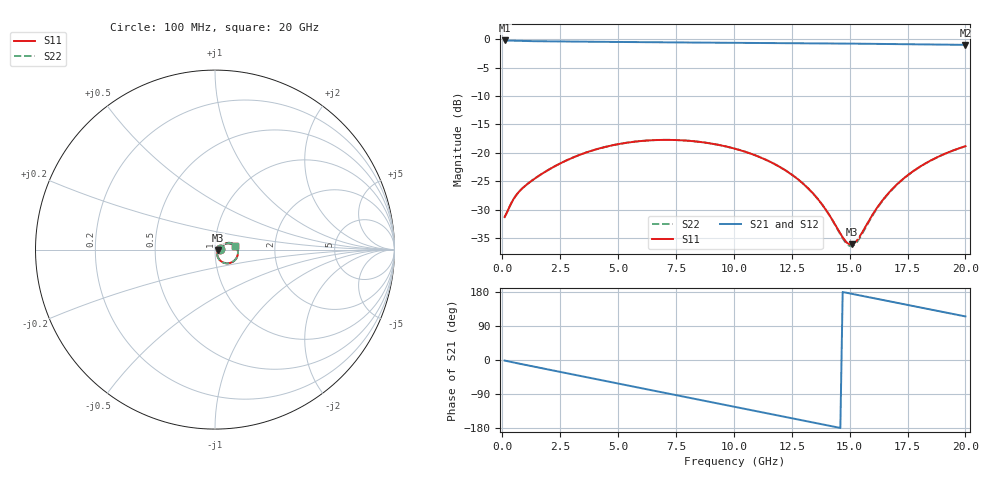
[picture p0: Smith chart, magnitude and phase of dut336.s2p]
! Touchstone file exported from HFSS 2026.1.0
!  File:  C:/ffzhzh/LocalFiles/Ansys_Project_Files/temp_train_TSV_RDL_336_1783033981_53980.aedt
!  Generated:  07:21:47 AM Jul  3, 2026
!  Design:  TSV_RDL
!  Project:  temp_train_TSV_RDL_336_1783033981_53980
! Variables:
!  h_bsmrdl = 2.33um
!  h_ox = 20um
!  h_rdl = 5um
!  h_sub = 53.64um
!  h_tmrdl = 3.58um
!  h_tsv = 53.64um
!  h_via = 3um
!  l_bsmrdl = 694.47um
!  l_sub = 4213.43um
!  l_tmrdl = 404.26um
!  m_sub = 200um
!  pitch = 24.72um
!  r_tsv = 9.71um
!  s_tmrdl = 10um
!  w_bsmrdl = 17.6um
!  w_sub = 500um
!  w_tmrdl = 20.06um
!  x_tsv_center1 = 414.29um
!  x_tsv_center2 = 1126.36um
!  x_tsv_center3 = 1550.68um
!  x_tsv_center4 = 2262.75um
!  x_tsv_center5 = 2687.07um
!  x_tsv_center6 = 3399.14um
# GHz S MA R 50.000000
! Terminal data exported
! Port[1] = TM_RDL1_1_T1
! Port[2] = TM_RDL5_1_T1
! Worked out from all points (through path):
!   200 points, 100 MHz to 20 GHz, reference 50 ohm
!   highest |S21| = -0.24 dB at 100 MHz (marker M1); lowest = -1.0 dB at 20 GHz (marker M2)
!   group delay of S21, straight-line fit = 33.9 ps
!   lowest |S11| = -36.1 dB at 15.1 GHz (marker M3), VSWR 1.03, Z = 51.5 - j0.406 ohm
!   |S11| at or under -10 dB: start of sweep to end of sweep
!   |S22| runs from -36.4 to -17.7 dB; largest |S21 - S12| = 1.7e-14
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0.1  0.02727 10.4  0.9733 -1.4  0.9733 -1.4  0.02727 10.4
! Gamma 0 0 0 0
! Port Impedance 50 0 50 0
0.6  0.04248 27.9  0.9652 -8.0  0.9652 -8.0  0.04248 27.9
1.1  0.05358 29.6  0.9604 -14.1  0.9604 -14.1  0.05358 29.6
2.3  0.0769 28.4  0.9549 -28.9  0.9549 -28.9  0.07692 28.4
3.5  0.09876 21.0  0.9501 -43.7  0.9501 -43.7  0.09879 21.0
5.2  0.1212 5.7  0.9432 -64.6  0.9432 -64.6  0.1213 5.7
6.8  0.1299 -10.5  0.9374 -84.1  0.9374 -84.1  0.13 -10.6
8.4  0.1257 -27.1  0.9326 -103.6  0.9326 -103.6  0.1258 -27.3
10.1  0.1081 -44.5  0.9283 -124.3  0.9283 -124.3  0.1082 -44.7
12  0.07491 -61.9  0.9234 -147.5  0.9234 -147.5  0.07501 -62.3
12.8  0.05787 -67.2  0.921 -157.3  0.921 -157.3  0.05794 -67.7
13.4  0.04444 -69.0  0.9191 -164.6  0.9191 -164.6  0.04446 -69.7
14  0.03109 -66.1  0.917 -172.0  0.917 -172.0  0.03101 -67.1
14.8  0.01697 -38.1  0.914 178.3  0.914 178.3  0.01657 -39.5
15.1  0.01567 -14.5  0.9128 174.6  0.9128 174.6  0.01513 -15.2
15.4  0.01795 7.5  0.9115 170.9  0.9115 170.9  0.0174 7.8
16.1  0.03102 30.0  0.9085 162.4  0.9085 162.4  0.0306 30.7
16.7  0.04477 33.2  0.9058 155.0  0.9058 155.0  0.04443 33.7
17.3  0.05882 31.6  0.903 147.7  0.903 147.7  0.05852 32.0
18.1  0.07701 26.5  0.8992 138.0  0.8992 138.0  0.07677 26.8
19.1  0.09797 18.1  0.8945 125.9  0.8945 125.9  0.09778 18.3
20  0.1144 9.7  0.8904 115.0  0.8904 115.0  0.1143 9.9
